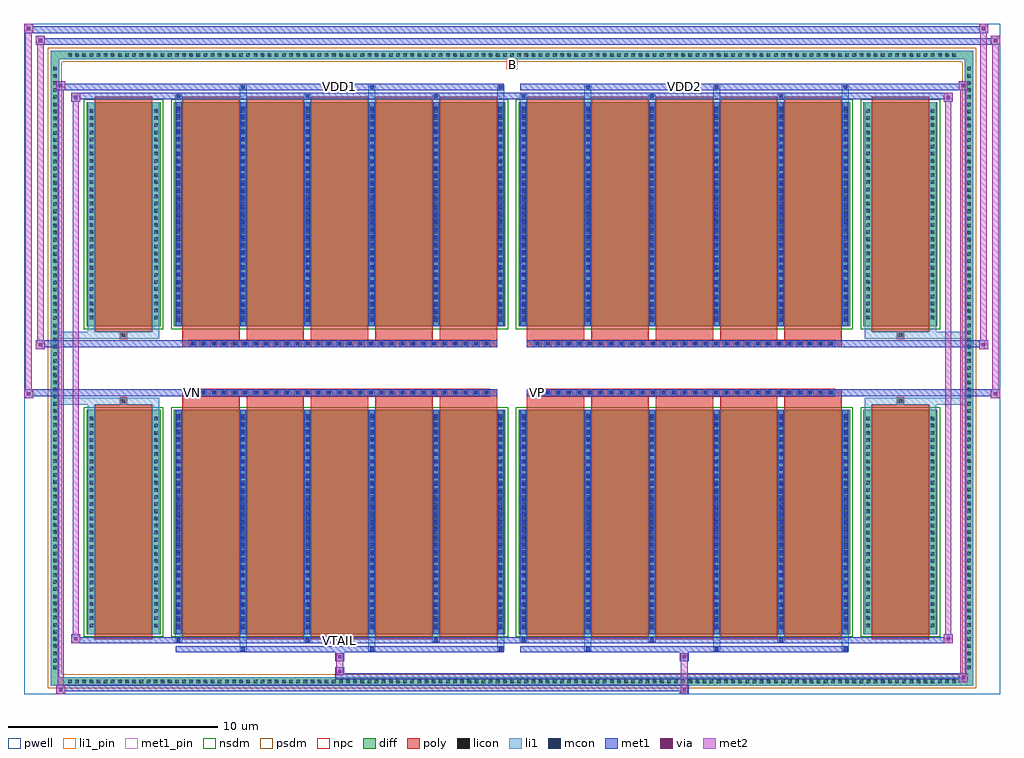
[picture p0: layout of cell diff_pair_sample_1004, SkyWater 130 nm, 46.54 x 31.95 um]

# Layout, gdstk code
import gdstk
lib = gdstk.Library(unit=1e-6, precision=5e-09)
def R(c, l, rs):  # rectangles x0, y0, x1, y1
    for r in rs: c.add(gdstk.rectangle(r[:2], r[2:], *l))
def A(c, l, x, y, w, h, nx, ny, dx, dy):  # array of equal rectangles
    R(c, l, [(x+i*dx, y+j*dy, x+i*dx+w, y+j*dy+h) for i in range(nx) for j in range(ny)])
def P(c, l, *ps):  # polygons
    for p in ps: c.add(gdstk.Polygon(p, *l))
pwell = (64, 44)
diff = (65, 20)
poly = (66, 20)
licon = (66, 44)
li1_pin = (67, 16)
li1 = (67, 20)
mcon = (67, 44)
met1_pin = (68, 16)
met1 = (68, 20)
via = (68, 44)
met2 = (69, 20)
nsdm = (93, 44)
psdm = (94, 20)
npc = (95, 20)

diff_pair_sample_1004 = lib.new_cell('diff_pair_sample_1004')
R(diff_pair_sample_1004, pwell, [(-23.27,-15.54,23.27,16.41), (-20.59,-13.73,-0.01,-0.805), (0.01,-13.73,20.59,-0.805), (-20.59,0.805,-0.01,13.73), (0.01,0.805,20.59,13.73)])
A(diff_pair_sample_1004, diff, -21.285, -15.14, 0.41, 0.41, 125, 2, 0.34, 29.87)
A(diff_pair_sample_1004, diff, -22, -14.485, 0.41, 0.41, 1, 85, 0, 0.34)
A(diff_pair_sample_1004, diff, 21.59, -14.485, 0.41, 0.41, 1, 85, 0, 0.34)
R(diff_pair_sample_1004, diff, [(-21.285,-15.14,21.285,-14.73), (-22,-14.485,-21.59,14.485), (21.59,-14.485,22,14.485), (-20.28,-12.685,-16.76,-1.985), (-16.12,-12.685,-0.32,-1.985), (0.32,-12.685,16.12,-1.985), (16.76,-12.685,20.28,-1.985), (-20.28,1.985,-16.76,12.685), (-16.12,1.985,-0.32,12.685), (0.32,1.985,16.12,12.685), (16.76,1.985,20.28,12.685), (-21.285,14.73,21.285,15.14)])
P(diff_pair_sample_1004, diff, [(22,15.14),(-22,15.14),(-22,-14.73),(-21.59,-14.73),(-21.59,14.73),(21.59,14.73),(21.59,-14.73),(-21.59,-14.73),(-22,-14.73),(-22,-15.14),(22,-15.14)])
A(diff_pair_sample_1004, poly, -15.73, -12.935, 2.74, 11.2, 5, 2, 3.07, 14.67)
A(diff_pair_sample_1004, poly, 0.71, -12.935, 2.74, 11.2, 5, 2, 3.07, 14.67)
A(diff_pair_sample_1004, poly, -15.73, -1.735, 2.74, 0.4, 5, 2, 3.07, 3.07)
A(diff_pair_sample_1004, poly, 0.71, -1.735, 2.74, 0.4, 5, 2, 3.07, 3.07)
A(diff_pair_sample_1004, poly, -15.385, -1.335, 0.33, 0.33, 29, 2, 0.5, 2.34)
A(diff_pair_sample_1004, poly, 1.055, -1.335, 0.33, 0.33, 29, 2, 0.5, 2.34)
R(diff_pair_sample_1004, poly, [(-19.89,-12.935,-17.15,-1.735), (17.15,-12.935,19.89,-1.735), (-18.685,-1.735,-18.355,-1.405), (-18.685,-1.735,-18.355,-1.405), (18.355,-1.735,18.685,-1.405), (18.355,-1.735,18.685,-1.405), (-15.73,-1.335,-0.71,-1.005), (0.71,-1.335,15.73,-1.005), (-15.73,1.005,-0.71,1.335), (0.71,1.005,15.73,1.335), (-18.685,1.405,-18.355,1.735), (-18.685,1.405,-18.355,1.735), (18.355,1.405,18.685,1.735), (18.355,1.405,18.685,1.735), (-19.89,1.735,-17.15,12.935), (17.15,1.735,19.89,12.935)])
A(diff_pair_sample_1004, licon, -21.165, -15.02, 0.17, 0.17, 125, 2, 0.34, 29.87)
A(diff_pair_sample_1004, licon, -21.88, -14.365, 0.17, 0.17, 1, 85, 0, 0.34)
A(diff_pair_sample_1004, licon, 21.71, -14.365, 0.17, 0.17, 1, 85, 0, 0.34)
A(diff_pair_sample_1004, licon, -20.14, -12.35, 0.17, 0.17, 1, 30, 0, 0.34)
A(diff_pair_sample_1004, licon, -17.07, -12.35, 0.17, 0.17, 1, 30, 0, 0.34)
A(diff_pair_sample_1004, licon, -15.98, -12.35, 0.17, 0.17, 6, 30, 3.07, 0.34)
A(diff_pair_sample_1004, licon, 0.46, -12.35, 0.17, 0.17, 6, 30, 3.07, 0.34)
A(diff_pair_sample_1004, licon, 16.9, -12.35, 0.17, 0.17, 1, 30, 0, 0.34)
A(diff_pair_sample_1004, licon, 19.97, -12.35, 0.17, 0.17, 1, 30, 0, 0.34)
A(diff_pair_sample_1004, licon, -15.305, -1.255, 0.17, 0.17, 29, 2, 0.5, 2.34)
A(diff_pair_sample_1004, licon, 1.135, -1.255, 0.17, 0.17, 29, 2, 0.5, 2.34)
A(diff_pair_sample_1004, licon, -20.14, 2.32, 0.17, 0.17, 1, 30, 0, 0.34)
A(diff_pair_sample_1004, licon, -17.07, 2.32, 0.17, 0.17, 1, 30, 0, 0.34)
A(diff_pair_sample_1004, licon, -15.98, 2.32, 0.17, 0.17, 6, 30, 3.07, 0.34)
A(diff_pair_sample_1004, licon, 0.46, 2.32, 0.17, 0.17, 6, 30, 3.07, 0.34)
A(diff_pair_sample_1004, licon, 16.9, 2.32, 0.17, 0.17, 1, 30, 0, 0.34)
A(diff_pair_sample_1004, licon, 19.97, 2.32, 0.17, 0.17, 1, 30, 0, 0.34)
R(diff_pair_sample_1004, licon, [(-18.605,-1.655,-18.435,-1.485), (18.435,-1.655,18.605,-1.485), (-18.605,1.485,-18.435,1.655), (18.435,1.485,18.605,1.655)])
R(diff_pair_sample_1004, li1_pin, [(-0.25,14.23,0.25,14.73)])
A(diff_pair_sample_1004, li1, -21.245, -15.1, 0.33, 0.33, 125, 2, 0.34, 29.87)
A(diff_pair_sample_1004, li1, -21.96, -14.445, 0.33, 0.33, 1, 85, 0, 0.34)
A(diff_pair_sample_1004, li1, 21.63, -14.445, 0.33, 0.33, 1, 85, 0, 0.34)
A(diff_pair_sample_1004, li1, -12.99, -13.49, 0.33, 0.805, 3, 2, 6.14, 26.175)
A(diff_pair_sample_1004, li1, -12.91, -13.49, 0.17, 0.17, 3, 2, 6.14, 26.81)
A(diff_pair_sample_1004, li1, 3.45, -13.49, 0.33, 0.805, 3, 2, 6.14, 26.175)
A(diff_pair_sample_1004, li1, 3.53, -13.49, 0.17, 0.17, 3, 2, 6.14, 26.81)
A(diff_pair_sample_1004, li1, -16.06, -13.06, 0.33, 0.375, 3, 2, 6.14, 25.745)
A(diff_pair_sample_1004, li1, -15.98, -13.06, 0.17, 0.17, 3, 2, 6.14, 25.95)
A(diff_pair_sample_1004, li1, 0.38, -13.06, 0.33, 0.375, 3, 2, 6.14, 25.745)
A(diff_pair_sample_1004, li1, 0.46, -13.06, 0.17, 0.17, 3, 2, 6.14, 25.95)
A(diff_pair_sample_1004, li1, -16.06, -12.685, 0.33, 10.7, 6, 2, 3.07, 14.67)
A(diff_pair_sample_1004, li1, 0.38, -12.685, 0.33, 10.7, 6, 2, 3.07, 14.67)
A(diff_pair_sample_1004, li1, -15.98, -12.46, 0.17, 0.17, 6, 29, 3.07, 0.36)
A(diff_pair_sample_1004, li1, -15.98, -12.46, 0.17, 10.25, 6, 2, 3.07, 14.67)
A(diff_pair_sample_1004, li1, 0.46, -12.46, 0.17, 0.17, 6, 29, 3.07, 0.36)
A(diff_pair_sample_1004, li1, 0.46, -12.46, 0.17, 10.25, 6, 2, 3.07, 14.67)
A(diff_pair_sample_1004, li1, -20.22, -12.43, 0.33, 0.33, 1, 30, 0, 0.34)
A(diff_pair_sample_1004, li1, -17.15, -12.43, 0.33, 0.33, 1, 30, 0, 0.34)
A(diff_pair_sample_1004, li1, -16.06, -12.43, 0.33, 0.33, 6, 30, 3.07, 0.34)
A(diff_pair_sample_1004, li1, 0.38, -12.43, 0.33, 0.33, 6, 30, 3.07, 0.34)
A(diff_pair_sample_1004, li1, 16.82, -12.43, 0.33, 0.33, 1, 30, 0, 0.34)
A(diff_pair_sample_1004, li1, 19.89, -12.43, 0.33, 0.33, 1, 30, 0, 0.34)
A(diff_pair_sample_1004, li1, -15.385, -1.335, 0.33, 0.33, 29, 2, 0.5, 2.34)
A(diff_pair_sample_1004, li1, 1.055, -1.335, 0.33, 0.33, 29, 2, 0.5, 2.34)
A(diff_pair_sample_1004, li1, -15.98, 2.21, 0.17, 0.17, 6, 29, 3.07, 0.36)
A(diff_pair_sample_1004, li1, 0.46, 2.21, 0.17, 0.17, 6, 29, 3.07, 0.36)
A(diff_pair_sample_1004, li1, -20.22, 2.24, 0.33, 0.33, 1, 30, 0, 0.34)
A(diff_pair_sample_1004, li1, -17.15, 2.24, 0.33, 0.33, 1, 30, 0, 0.34)
A(diff_pair_sample_1004, li1, -16.06, 2.24, 0.33, 0.33, 6, 30, 3.07, 0.34)
A(diff_pair_sample_1004, li1, 0.38, 2.24, 0.33, 0.33, 6, 30, 3.07, 0.34)
A(diff_pair_sample_1004, li1, 16.82, 2.24, 0.33, 0.33, 1, 30, 0, 0.34)
A(diff_pair_sample_1004, li1, 19.89, 2.24, 0.33, 0.33, 1, 30, 0, 0.34)
R(diff_pair_sample_1004, li1, [(-22,-15.14,-21.59,-14.73), (-22,-15.14,-21.59,-14.73), (-21.59,-15.14,21.59,-14.73), (21.59,-15.14,22,-14.73), (21.59,-15.14,22,-14.73), (-22,-14.73,-21.59,14.73), (21.59,-14.73,22,14.73), (-20.22,-12.685,-19.89,-1.985), (-17.15,-12.685,-16.82,-1.985), (16.82,-12.685,17.15,-1.985), (19.89,-12.685,20.22,-1.985), (-20.22,-1.985,-19.89,-1.405), (-17.15,-1.985,-16.82,-1.405), (16.82,-1.985,17.15,-1.405), (19.89,-1.985,20.22,-1.405), (-22,-1.735,-18.685,-1.405), (-20.22,-1.735,-18.685,-1.405), (-18.685,-1.735,-18.355,-1.405), (-18.355,-1.735,-16.82,-1.405), (16.82,-1.735,18.355,-1.405), (18.355,-1.735,18.685,-1.405), (18.355,-1.735,22,-1.405), (18.685,-1.735,20.22,-1.405), (-22,1.405,-18.685,1.735), (-20.22,1.405,-18.685,1.735), (-20.22,1.405,-19.89,1.985), (-18.685,1.405,-18.355,1.735), (-18.355,1.405,-16.82,1.735), (-17.15,1.405,-16.82,1.985), (16.82,1.405,18.355,1.735), (16.82,1.405,17.15,1.985), (18.355,1.405,18.685,1.735), (18.355,1.405,22,1.735), (18.685,1.405,20.22,1.735), (19.89,1.405,20.22,1.985), (-20.22,1.985,-19.89,12.685), (-17.15,1.985,-16.82,12.685), (16.82,1.985,17.15,12.685), (19.89,1.985,20.22,12.685), (-22,14.73,-21.59,15.14), (-22,14.73,-21.59,15.14), (-21.59,14.73,21.59,15.14), (21.59,14.73,22,15.14), (21.59,14.73,22,15.14)])
A(diff_pair_sample_1004, mcon, -12.91, -13.49, 0.17, 0.17, 3, 2, 6.14, 26.81)
A(diff_pair_sample_1004, mcon, 3.53, -13.49, 0.17, 0.17, 3, 2, 6.14, 26.81)
A(diff_pair_sample_1004, mcon, -15.98, -13.06, 0.17, 0.17, 3, 2, 6.14, 25.95)
A(diff_pair_sample_1004, mcon, 0.46, -13.06, 0.17, 0.17, 3, 2, 6.14, 25.95)
A(diff_pair_sample_1004, mcon, -15.98, -12.46, 0.17, 0.17, 6, 29, 3.07, 0.36)
A(diff_pair_sample_1004, mcon, 0.46, -12.46, 0.17, 0.17, 6, 29, 3.07, 0.36)
A(diff_pair_sample_1004, mcon, -15.305, -1.255, 0.17, 0.17, 29, 2, 0.5, 2.34)
A(diff_pair_sample_1004, mcon, 1.135, -1.255, 0.17, 0.17, 29, 2, 0.5, 2.34)
A(diff_pair_sample_1004, mcon, -15.98, 2.21, 0.17, 0.17, 6, 29, 3.07, 0.36)
A(diff_pair_sample_1004, mcon, 0.46, 2.21, 0.17, 0.17, 6, 29, 3.07, 0.36)
R(diff_pair_sample_1004, met1_pin, [(-8.355,-13.1,-8.085,-12.83), (-15.355,-1.295,-15.085,-1.025), (1.085,-1.295,1.355,-1.025), (-8.355,13.28,-8.085,13.55), (8.085,13.28,8.355,13.55)])
A(diff_pair_sample_1004, met1, -12.97, -13.55, 0.29, 0.29, 3, 2, 6.14, 26.81)
A(diff_pair_sample_1004, met1, 3.47, -13.55, 0.29, 0.29, 3, 2, 6.14, 26.81)
A(diff_pair_sample_1004, met1, -16.04, -13.12, 0.29, 0.29, 3, 2, 6.14, 25.95)
A(diff_pair_sample_1004, met1, 0.4, -13.12, 0.29, 0.29, 3, 2, 6.14, 25.95)
A(diff_pair_sample_1004, met1, -16.04, -12.685, 0.29, 10.7, 6, 2, 3.07, 14.67)
A(diff_pair_sample_1004, met1, 0.4, -12.685, 0.29, 10.7, 6, 2, 3.07, 14.67)
A(diff_pair_sample_1004, met1, -16.04, -12.52, 0.29, 0.29, 6, 29, 3.07, 0.36)
A(diff_pair_sample_1004, met1, 0.4, -12.52, 0.29, 0.29, 6, 29, 3.07, 0.36)
A(diff_pair_sample_1004, met1, -15.365, -1.315, 0.29, 0.29, 29, 2, 0.5, 2.34)
A(diff_pair_sample_1004, met1, 1.075, -1.315, 0.29, 0.29, 29, 2, 0.5, 2.34)
A(diff_pair_sample_1004, met1, -16.04, 2.15, 0.29, 0.29, 6, 29, 3.07, 0.36)
A(diff_pair_sample_1004, met1, 0.4, 2.15, 0.29, 0.29, 6, 29, 3.07, 0.36)
R(diff_pair_sample_1004, met1, [(-21.73,-15.54,-21.3,-15.11), (8.005,-15.54,8.435,-15.11), (-21.73,-15.4,8.435,-15.11), (21.3,-14.97,21.73,-14.54), (-8.435,-14.83,21.73,-14.54), (-8.435,-14.69,-8.005,-14.26), (-8.435,-13.98,-8.005,-13.55), (8.005,-13.98,8.435,-13.55), (-16.04,-13.55,-0.4,-13.26), (0.4,-13.55,16.04,-13.26), (-21.02,-13.12,-20.59,-12.69), (-21.02,-13.12,-16.04,-12.83), (-16.04,-13.12,-0.4,-12.83), (-0.4,-13.12,0.4,-12.83), (0.4,-13.12,16.04,-12.83), (16.04,-13.12,21.02,-12.83), (20.59,-13.12,21.02,-12.69), (-23.27,-1.435,-22.84,-1.005), (22.84,-1.435,23.27,-1.005), (-23.27,-1.335,-0.71,-1.005), (-15.73,-1.335,-0.71,-1.005), (0.71,-1.335,15.73,-1.005), (0.71,-1.335,23.27,-1.005), (-22.7,0.905,-22.27,1.335), (22.27,0.905,22.7,1.335), (-22.7,1.005,-15.73,1.335), (-15.73,1.005,-0.71,1.335), (0.71,1.005,15.73,1.335), (15.73,1.005,22.7,1.335), (-21.02,12.69,-20.59,13.12), (20.59,12.69,21.02,13.12), (-21.02,12.83,-16.04,13.12), (-16.04,12.83,-0.4,13.12), (-0.4,12.83,0.4,13.12), (0.4,12.83,16.04,13.12), (16.04,12.83,21.02,13.12), (-21.73,13.26,-21.3,13.69), (-21.73,13.26,-16.04,13.55), (-16.04,13.26,-0.4,13.55), (0.4,13.26,16.04,13.55), (16.04,13.26,21.73,13.55), (21.3,13.26,21.73,13.69), (-22.7,15.41,-22.27,15.84), (-22.7,15.41,-20.59,15.74), (-20.59,15.41,20.59,15.74), (20.59,15.41,23.27,15.74), (22.84,15.41,23.27,15.84), (-23.27,15.98,-22.84,16.41), (-23.27,15.98,-20.59,16.31), (-20.59,15.98,20.59,16.31), (20.59,15.98,22.7,16.31), (22.27,15.98,22.7,16.41)])
R(diff_pair_sample_1004, via, [(-21.59,-15.4,-21.44,-15.25), (8.145,-15.4,8.295,-15.25), (21.44,-14.83,21.59,-14.68), (-8.295,-14.55,-8.145,-14.4), (-8.295,-13.84,-8.145,-13.69), (8.145,-13.84,8.295,-13.69), (-20.88,-12.98,-20.73,-12.83), (20.73,-12.98,20.88,-12.83), (-23.13,-1.295,-22.98,-1.145), (22.98,-1.295,23.13,-1.145), (-22.56,1.045,-22.41,1.195), (22.41,1.045,22.56,1.195), (-20.88,12.83,-20.73,12.98), (20.73,12.83,20.88,12.98), (-21.59,13.4,-21.44,13.55), (21.44,13.4,21.59,13.55), (-22.56,15.55,-22.41,15.7), (22.98,15.55,23.13,15.7), (-23.13,16.12,-22.98,16.27), (22.41,16.12,22.56,16.27)])
R(diff_pair_sample_1004, met2, [(-21.73,-15.54,-21.3,-15.11), (-21.66,-15.54,-21.37,13.69), (-21.37,-15.54,-21.3,-15.11), (-21.68,-15.49,-21.35,-15.16), (8.055,-15.49,8.385,-15.16), (8.055,-15.16,8.385,-13.93), (21.3,-14.97,21.73,-14.54), (21.37,-14.97,21.66,13.69), (21.66,-14.97,21.73,-14.54), (21.35,-14.92,21.68,-14.59), (-8.385,-14.64,-8.055,-14.31), (-8.385,-14.31,-8.055,-13.93), (-8.385,-13.93,-8.055,-13.6), (8.055,-13.93,8.385,-13.6), (-21.02,-13.12,-20.59,-12.69), (-20.95,-13.12,-20.66,13.12), (-20.66,-13.12,-20.59,-12.69), (20.59,-13.12,21.02,-12.69), (20.66,-13.12,20.95,13.12), (20.95,-13.12,21.02,-12.69), (-20.97,-13.07,-20.64,-12.74), (20.64,-13.07,20.97,-12.74), (-23.27,-1.435,-22.84,-1.005), (-23.22,-1.435,-22.89,16.41), (-22.89,-1.435,-22.84,-1.005), (22.84,-1.435,23.27,-1.005), (22.89,-1.435,23.22,15.84), (23.22,-1.435,23.27,-1.005), (-23.22,-1.385,-22.89,-1.055), (22.89,-1.385,23.22,-1.055), (-22.7,0.905,-22.27,1.335), (-22.65,0.905,-22.32,15.84), (-22.32,0.905,-22.27,1.335), (22.27,0.905,22.7,1.335), (22.32,0.905,22.65,16.41), (22.65,0.905,22.7,1.335), (-22.65,0.955,-22.32,1.285), (22.32,0.955,22.65,1.285), (-21.02,12.69,-20.59,13.12), (-20.66,12.69,-20.59,13.12), (20.59,12.69,21.02,13.12), (20.95,12.69,21.02,13.12), (-20.97,12.74,-20.64,13.07), (20.64,12.74,20.97,13.07), (-21.73,13.26,-21.3,13.69), (-21.37,13.26,-21.3,13.69), (21.3,13.26,21.73,13.69), (21.66,13.26,21.73,13.69), (-21.68,13.31,-21.35,13.64), (21.35,13.31,21.68,13.64), (-22.7,15.41,-22.27,15.84), (-22.32,15.41,-22.27,15.84), (22.84,15.41,23.27,15.84), (23.22,15.41,23.27,15.84), (-22.65,15.46,-22.32,15.79), (22.89,15.46,23.22,15.79), (-23.27,15.98,-22.84,16.41), (-22.89,15.98,-22.84,16.41), (22.27,15.98,22.7,16.41), (22.65,15.98,22.7,16.41), (-23.22,16.03,-22.89,16.36), (22.32,16.03,22.65,16.36)])
R(diff_pair_sample_1004, nsdm, [(-20.41,-12.815,-16.63,-1.855), (-16.25,-12.815,-0.19,-1.855), (0.19,-12.815,16.25,-1.855), (16.63,-12.815,20.41,-1.855), (-20.41,1.855,-16.63,12.815), (-16.25,1.855,-0.19,12.815), (0.19,1.855,16.25,12.815), (16.63,1.855,20.41,12.815)])
P(diff_pair_sample_1004, psdm, [(22.13,15.27),(-22.13,15.27),(-22.13,-14.6),(-21.46,-14.6),(-21.46,14.6),(21.46,14.6),(21.46,-14.6),(-21.46,-14.6),(-22.13,-14.6),(-22.13,-15.27),(22.13,-15.27)])
A(diff_pair_sample_1004, npc, -15.405, -1.355, 0.37, 0.37, 29, 2, 0.5, 2.34)
A(diff_pair_sample_1004, npc, 1.035, -1.355, 0.37, 0.37, 29, 2, 0.5, 2.34)
R(diff_pair_sample_1004, npc, [(-18.705,-1.755,-18.335,-1.385), (18.335,-1.755,18.705,-1.385), (-15.405,-1.355,-14.535,-0.985), (-15.405,-1.355,-14.535,-0.985), (-14.905,-1.355,-14.035,-0.985), (-14.905,-1.355,-14.035,-0.985), (-14.405,-1.355,-13.535,-0.985), (-14.405,-1.355,-13.535,-0.985), (-13.905,-1.355,-13.035,-0.985), (-13.905,-1.355,-13.035,-0.985), (-13.405,-1.355,-12.535,-0.985), (-13.405,-1.355,-12.535,-0.985), (-12.905,-1.355,-12.035,-0.985), (-12.905,-1.355,-12.035,-0.985), (-12.405,-1.355,-11.535,-0.985), (-12.405,-1.355,-11.535,-0.985), (-11.905,-1.355,-11.035,-0.985), (-11.905,-1.355,-11.035,-0.985), (-11.405,-1.355,-10.535,-0.985), (-11.405,-1.355,-10.535,-0.985), (-10.905,-1.355,-10.035,-0.985), (-10.905,-1.355,-10.035,-0.985), (-10.405,-1.355,-9.535,-0.985), (-10.405,-1.355,-9.535,-0.985), (-9.905,-1.355,-9.035,-0.985), (-9.905,-1.355,-9.035,-0.985), (-9.405,-1.355,-8.535,-0.985), (-9.405,-1.355,-8.535,-0.985), (-8.905,-1.355,-8.035,-0.985), (-8.905,-1.355,-8.035,-0.985), (-8.405,-1.355,-7.535,-0.985), (-8.405,-1.355,-7.535,-0.985), (-7.905,-1.355,-7.035,-0.985), (-7.905,-1.355,-7.035,-0.985), (-7.405,-1.355,-6.535,-0.985), (-7.405,-1.355,-6.535,-0.985), (-6.905,-1.355,-6.035,-0.985), (-6.905,-1.355,-6.035,-0.985), (-6.405,-1.355,-5.535,-0.985), (-6.405,-1.355,-5.535,-0.985), (-5.905,-1.355,-5.035,-0.985), (-5.905,-1.355,-5.035,-0.985), (-5.405,-1.355,-4.535,-0.985), (-5.405,-1.355,-4.535,-0.985), (-4.905,-1.355,-4.035,-0.985), (-4.905,-1.355,-4.035,-0.985), (-4.405,-1.355,-3.535,-0.985), (-4.405,-1.355,-3.535,-0.985), (-3.905,-1.355,-3.035,-0.985), (-3.905,-1.355,-3.035,-0.985), (-3.405,-1.355,-2.535,-0.985), (-3.405,-1.355,-2.535,-0.985), (-2.905,-1.355,-2.035,-0.985), (-2.905,-1.355,-2.035,-0.985), (-2.405,-1.355,-1.535,-0.985), (-2.405,-1.355,-1.535,-0.985), (-1.905,-1.355,-1.035,-0.985), (-1.905,-1.355,-1.035,-0.985), (1.035,-1.355,1.905,-0.985), (1.035,-1.355,1.905,-0.985), (1.535,-1.355,2.405,-0.985), (1.535,-1.355,2.405,-0.985), (2.035,-1.355,2.905,-0.985), (2.035,-1.355,2.905,-0.985), (2.535,-1.355,3.405,-0.985), (2.535,-1.355,3.405,-0.985), (3.035,-1.355,3.905,-0.985), (3.035,-1.355,3.905,-0.985), (3.535,-1.355,4.405,-0.985), (3.535,-1.355,4.405,-0.985), (4.035,-1.355,4.905,-0.985), (4.035,-1.355,4.905,-0.985), (4.535,-1.355,5.405,-0.985), (4.535,-1.355,5.405,-0.985), (5.035,-1.355,5.905,-0.985), (5.035,-1.355,5.905,-0.985), (5.535,-1.355,6.405,-0.985), (5.535,-1.355,6.405,-0.985), (6.035,-1.355,6.905,-0.985), (6.035,-1.355,6.905,-0.985), (6.535,-1.355,7.405,-0.985), (6.535,-1.355,7.405,-0.985), (7.035,-1.355,7.905,-0.985), (7.035,-1.355,7.905,-0.985), (7.535,-1.355,8.405,-0.985), (7.535,-1.355,8.405,-0.985), (8.035,-1.355,8.905,-0.985), (8.035,-1.355,8.905,-0.985), (8.535,-1.355,9.405,-0.985), (8.535,-1.355,9.405,-0.985), (9.035,-1.355,9.905,-0.985), (9.035,-1.355,9.905,-0.985), (9.535,-1.355,10.405,-0.985), (9.535,-1.355,10.405,-0.985), (10.035,-1.355,10.905,-0.985), (10.035,-1.355,10.905,-0.985), (10.535,-1.355,11.405,-0.985), (10.535,-1.355,11.405,-0.985), (11.035,-1.355,11.905,-0.985), (11.035,-1.355,11.905,-0.985), (11.535,-1.355,12.405,-0.985), (11.535,-1.355,12.405,-0.985), (12.035,-1.355,12.905,-0.985), (12.035,-1.355,12.905,-0.985), (12.535,-1.355,13.405,-0.985), (12.535,-1.355,13.405,-0.985), (13.035,-1.355,13.905,-0.985), (13.035,-1.355,13.905,-0.985), (13.535,-1.355,14.405,-0.985), (13.535,-1.355,14.405,-0.985), (14.035,-1.355,14.905,-0.985), (14.035,-1.355,14.905,-0.985), (14.535,-1.355,15.405,-0.985), (14.535,-1.355,15.405,-0.985), (-15.405,0.985,-14.535,1.355), (-15.405,0.985,-14.535,1.355), (-14.905,0.985,-14.035,1.355), (-14.905,0.985,-14.035,1.355), (-14.405,0.985,-13.535,1.355), (-14.405,0.985,-13.535,1.355), (-13.905,0.985,-13.035,1.355), (-13.905,0.985,-13.035,1.355), (-13.405,0.985,-12.535,1.355), (-13.405,0.985,-12.535,1.355), (-12.905,0.985,-12.035,1.355), (-12.905,0.985,-12.035,1.355), (-12.405,0.985,-11.535,1.355), (-12.405,0.985,-11.535,1.355), (-11.905,0.985,-11.035,1.355), (-11.905,0.985,-11.035,1.355), (-11.405,0.985,-10.535,1.355), (-11.405,0.985,-10.535,1.355), (-10.905,0.985,-10.035,1.355), (-10.905,0.985,-10.035,1.355), (-10.405,0.985,-9.535,1.355), (-10.405,0.985,-9.535,1.355), (-9.905,0.985,-9.035,1.355), (-9.905,0.985,-9.035,1.355), (-9.405,0.985,-8.535,1.355), (-9.405,0.985,-8.535,1.355), (-8.905,0.985,-8.035,1.355), (-8.905,0.985,-8.035,1.355), (-8.405,0.985,-7.535,1.355), (-8.405,0.985,-7.535,1.355), (-7.905,0.985,-7.035,1.355), (-7.905,0.985,-7.035,1.355), (-7.405,0.985,-6.535,1.355), (-7.405,0.985,-6.535,1.355), (-6.905,0.985,-6.035,1.355), (-6.905,0.985,-6.035,1.355), (-6.405,0.985,-5.535,1.355), (-6.405,0.985,-5.535,1.355), (-5.905,0.985,-5.035,1.355), (-5.905,0.985,-5.035,1.355), (-5.405,0.985,-4.535,1.355), (-5.405,0.985,-4.535,1.355), (-4.905,0.985,-4.035,1.355), (-4.905,0.985,-4.035,1.355), (-4.405,0.985,-3.535,1.355), (-4.405,0.985,-3.535,1.355), (-3.905,0.985,-3.035,1.355), (-3.905,0.985,-3.035,1.355), (-3.405,0.985,-2.535,1.355), (-3.405,0.985,-2.535,1.355), (-2.905,0.985,-2.035,1.355), (-2.905,0.985,-2.035,1.355), (-2.405,0.985,-1.535,1.355), (-2.405,0.985,-1.535,1.355), (-1.905,0.985,-1.035,1.355), (-1.905,0.985,-1.035,1.355), (1.035,0.985,1.905,1.355), (1.035,0.985,1.905,1.355), (1.535,0.985,2.405,1.355), (1.535,0.985,2.405,1.355), (2.035,0.985,2.905,1.355), (2.035,0.985,2.905,1.355), (2.535,0.985,3.405,1.355), (2.535,0.985,3.405,1.355), (3.035,0.985,3.905,1.355), (3.035,0.985,3.905,1.355), (3.535,0.985,4.405,1.355), (3.535,0.985,4.405,1.355), (4.035,0.985,4.905,1.355), (4.035,0.985,4.905,1.355), (4.535,0.985,5.405,1.355), (4.535,0.985,5.405,1.355), (5.035,0.985,5.905,1.355), (5.035,0.985,5.905,1.355), (5.535,0.985,6.405,1.355), (5.535,0.985,6.405,1.355), (6.035,0.985,6.905,1.355), (6.035,0.985,6.905,1.355), (6.535,0.985,7.405,1.355), (6.535,0.985,7.405,1.355), (7.035,0.985,7.905,1.355), (7.035,0.985,7.905,1.355), (7.535,0.985,8.405,1.355), (7.535,0.985,8.405,1.355), (8.035,0.985,8.905,1.355), (8.035,0.985,8.905,1.355), (8.535,0.985,9.405,1.355), (8.535,0.985,9.405,1.355), (9.035,0.985,9.905,1.355), (9.035,0.985,9.905,1.355), (9.535,0.985,10.405,1.355), (9.535,0.985,10.405,1.355), (10.035,0.985,10.905,1.355), (10.035,0.985,10.905,1.355), (10.535,0.985,11.405,1.355), (10.535,0.985,11.405,1.355), (11.035,0.985,11.905,1.355), (11.035,0.985,11.905,1.355), (11.535,0.985,12.405,1.355), (11.535,0.985,12.405,1.355), (12.035,0.985,12.905,1.355), (12.035,0.985,12.905,1.355), (12.535,0.985,13.405,1.355), (12.535,0.985,13.405,1.355), (13.035,0.985,13.905,1.355), (13.035,0.985,13.905,1.355), (13.535,0.985,14.405,1.355), (13.535,0.985,14.405,1.355), (14.035,0.985,14.905,1.355), (14.035,0.985,14.905,1.355), (14.535,0.985,15.405,1.355), (14.535,0.985,15.405,1.355), (-18.705,1.385,-18.335,1.755), (18.335,1.385,18.705,1.755)])
diff_pair_sample_1004.add(gdstk.Label('VTAIL', (-8.22,-12.965), layer=68, texttype=5))
diff_pair_sample_1004.add(gdstk.Label('VN', (-15.22,-1.16), layer=68, texttype=5))
diff_pair_sample_1004.add(gdstk.Label('VP', (1.22,-1.16), layer=68, texttype=5))
diff_pair_sample_1004.add(gdstk.Label('B', (0,14.48), layer=67, texttype=5))
diff_pair_sample_1004.add(gdstk.Label('VDD2', (8.22,13.415), layer=68, texttype=5))
diff_pair_sample_1004.add(gdstk.Label('VDD1', (-8.22,13.415), layer=68, texttype=5))

lib.write_gds('diff_pair_sample_1004.gds')
